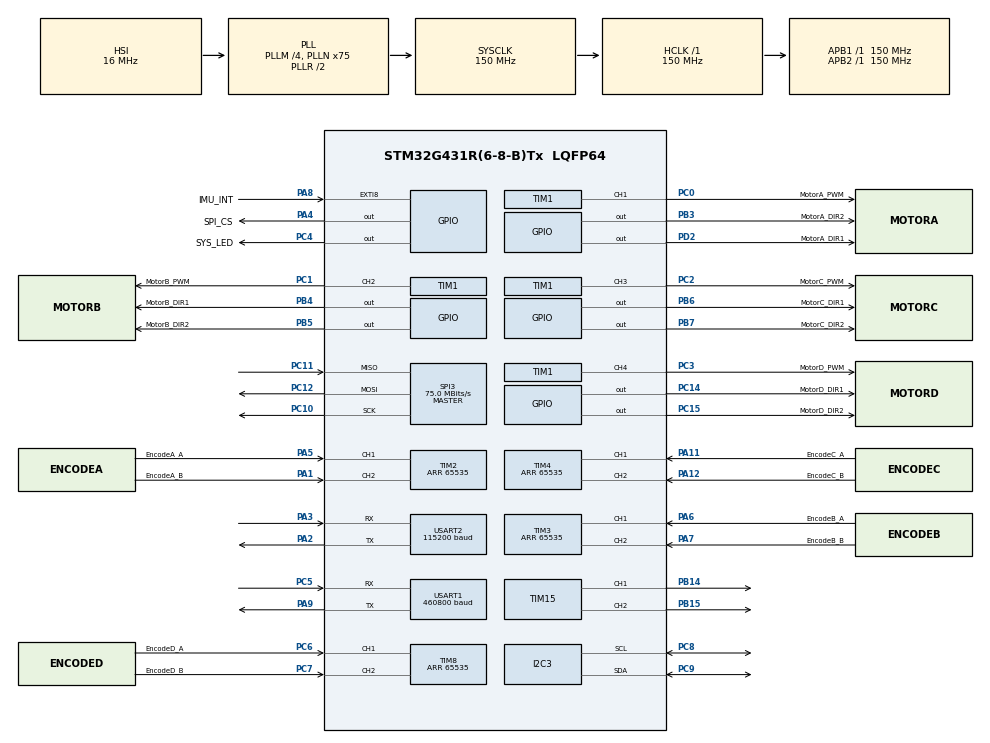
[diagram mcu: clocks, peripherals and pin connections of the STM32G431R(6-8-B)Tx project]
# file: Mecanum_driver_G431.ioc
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Dma.Request0=USART2_RX
Dma.Request1=USART2_TX
Dma.USART2_RX.0.Direction=DMA_PERIPH_TO_MEMORY
Dma.USART2_RX.0.EventEnable=DISABLE
Dma.USART2_RX.0.Instance=DMA1_Channel2
Dma.USART2_RX.0.MemDataAlignment=DMA_MDATAALIGN_BYTE
Dma.USART2_RX.0.MemInc=DMA_MINC_ENABLE
Dma.USART2_RX.0.Mode=DMA_NORMAL
Dma.USART2_RX.0.PeriphDataAlignment=DMA_PDATAALIGN_BYTE
Dma.USART2_RX.0.PeriphInc=DMA_PINC_DISABLE
Dma.USART2_RX.0.Polarity=HAL_DMAMUX_REQ_GEN_RISING
Dma.USART2_RX.0.Priority=DMA_PRIORITY_HIGH
Dma.USART2_RX.0.RequestNumber=1
Dma.USART2_RX.0.SignalID=NONE
Dma.USART2_RX.0.SyncEnable=DISABLE
Dma.USART2_RX.0.SyncPolarity=HAL_DMAMUX_SYNC_NO_EVENT
Dma.USART2_RX.0.SyncRequestNumber=1
Dma.USART2_RX.0.SyncSignalID=NONE
Dma.USART2_TX.1.Direction=DMA_MEMORY_TO_PERIPH
Dma.USART2_TX.1.EventEnable=DISABLE
Dma.USART2_TX.1.Instance=DMA1_Channel1
Dma.USART2_TX.1.MemDataAlignment=DMA_MDATAALIGN_BYTE
Dma.USART2_TX.1.MemInc=DMA_MINC_ENABLE
Dma.USART2_TX.1.Mode=DMA_NORMAL
Dma.USART2_TX.1.PeriphDataAlignment=DMA_PDATAALIGN_BYTE
Dma.USART2_TX.1.PeriphInc=DMA_PINC_DISABLE
Dma.USART2_TX.1.Polarity=HAL_DMAMUX_REQ_GEN_RISING
Dma.USART2_TX.1.Priority=DMA_PRIORITY_HIGH
Dma.USART2_TX.1.RequestNumber=1
Dma.USART2_TX.1.SignalID=NONE
Dma.USART2_TX.1.SyncEnable=DISABLE
Dma.USART2_TX.1.SyncPolarity=HAL_DMAMUX_SYNC_NO_EVENT
Dma.USART2_TX.1.SyncRequestNumber=1
Dma.USART2_TX.1.SyncSignalID=NONE
FREERTOS.Tasks01=defaultTask,24,128,StartDefaultTask,Default,NULL,Dynamic,NULL,NULL
FREERTOS.configUSE_NEWLIB_REENTRANT=1
I2C3.Timing=0x20C0EDFF
Mcu.Family=STM32G4
Mcu.Name=STM32G431R(6-8-B)Tx
Mcu.Package=LQFP64
NVIC.DMA1_Channel1_IRQn=true\:0\:0\:false\:false\:true\:false\:false\:true\:true
NVIC.DMA1_Channel2_IRQn=true\:0\:0\:false\:false\:true\:false\:false\:true\:true
NVIC.PriorityGroup=NVIC_PRIORITYGROUP_4
NVIC.TIM7_IRQn=true\:15\:0\:false\:false\:true\:false\:false\:true\:true
NVIC.TimeBase=TIM7_IRQn
NVIC.TimeBaseIP=TIM7
NVIC.USART2_IRQn=true\:5\:0\:false\:false\:true\:true\:true\:true\:true
PA1.GPIO_Label=EncodeA_B
PA1.Signal=S_TIM2_CH2
PA11.GPIO_Label=EncodeC_A
PA11.Signal=S_TIM4_CH1
PA12.GPIO_Label=EncodeC_B
PA12.Signal=S_TIM4_CH2
PA13.Mode=Serial_Wire
PA13.Signal=SYS_JTMS-SWDIO
PA14.Mode=Serial_Wire
PA14.Signal=SYS_JTCK-SWCLK
PA2.GPIO_PuPd=GPIO_NOPULL
PA2.GPIO_Speed=GPIO_SPEED_FREQ_LOW
PA2.Mode=Asynchronous
PA2.Signal=USART2_TX
PA3.GPIO_PuPd=GPIO_NOPULL
PA3.Mode=Asynchronous
PA3.Signal=USART2_RX
PA4.GPIO_Label=SPI_CS
PA4.Signal=GPIO_Output
PA5.GPIO_Label=EncodeA_A
PA5.Signal=S_TIM2_CH1
PA6.GPIO_Label=EncodeB_A
PA6.Signal=S_TIM3_CH1
PA7.GPIO_Label=EncodeB_B
PA7.Signal=S_TIM3_CH2
PA8.GPIO_Label=IMU_INT
PA8.Signal=GPXTI8
PA9.Mode=Asynchronous
PA9.Signal=USART1_TX
PB14.Signal=S_TIM15_CH1
PB15.Signal=S_TIM15_CH2
PB3.GPIO_Label=MotorA_DIR2
PB3.Signal=GPIO_Output
PB4.GPIO_Label=MotorB_DIR1
PB4.Signal=GPIO_Output
PB5.GPIO_Label=MotorB_DIR2
PB5.Signal=GPIO_Output
PB6.GPIO_Label=MotorC_DIR1
PB6.Signal=GPIO_Output
PB7.GPIO_Label=MotorC_DIR2
PB7.Signal=GPIO_Output
PC0.GPIO_Label=MotorA_PWM
PC0.Signal=S_TIM1_CH1
PC1.GPIO_Label=MotorB_PWM
PC1.Signal=S_TIM1_CH2
PC10.Mode=Full_Duplex_Master
PC10.Signal=SPI3_SCK
PC11.Mode=Full_Duplex_Master
PC11.Signal=SPI3_MISO
PC12.Mode=Full_Duplex_Master
PC12.Signal=SPI3_MOSI
PC14-OSC32_IN.GPIO_Label=MotorD_DIR1
PC14-OSC32_IN.Signal=GPIO_Output
PC15-OSC32_OUT.GPIO_Label=MotorD_DIR2
PC15-OSC32_OUT.Signal=GPIO_Output
PC2.GPIO_Label=MotorC_PWM
PC2.Signal=S_TIM1_CH3
PC3.GPIO_Label=MotorD_PWM
PC3.Signal=S_TIM1_CH4
PC4.GPIO_Label=SYS_LED
PC4.Signal=GPIO_Output
PC5.Mode=Asynchronous
PC5.Signal=USART1_RX
PC6.GPIO_Label=EncodeD_A
PC6.Signal=S_TIM8_CH1
PC7.GPIO_Label=EncodeD_B
PC7.Signal=S_TIM8_CH2
PC8.Mode=I2C
PC8.Signal=I2C3_SCL
PC9.Mode=I2C
PC9.Signal=I2C3_SDA
PD2.GPIO_Label=MotorA_DIR1
PD2.Signal=GPIO_Output
ProjectManager.HeapSize=0x200
ProjectManager.StackSize=0x400
ProjectManager.TargetToolchain=STM32CubeIDE
RCC.ADC12Freq_Value=150000000
RCC.AHBFreq_Value=150000000
RCC.APB1Freq_Value=150000000
RCC.APB1TimFreq_Value=150000000
RCC.APB2Freq_Value=150000000
RCC.APB2TimFreq_Value=150000000
RCC.CortexFreq_Value=150000000
RCC.EXTERNAL_CLOCK_VALUE=12288000
RCC.HCLKFreq_Value=150000000
RCC.HSE_VALUE=8000000
RCC.HSI48_VALUE=48000000
RCC.HSI_VALUE=16000000
RCC.LSE_VALUE=32768
RCC.PLLM=RCC_PLLM_DIV4
RCC.PLLN=75
RCC.SYSCLKFreq_VALUE=150000000
RCC.SYSCLKSource=RCC_SYSCLKSOURCE_PLLCLK
RCC.USBFreq_Value=150000000
RCC.VCOOutputFreq_Value=300000000
SH.S_TIM15_CH1.0=TIM15_CH1,PWM Generation1 CH1
SH.S_TIM15_CH2.0=TIM15_CH2,PWM Generation2 CH2
SH.S_TIM1_CH1.0=TIM1_CH1,PWM Generation1 CH1
SH.S_TIM1_CH2.0=TIM1_CH2,PWM Generation2 CH2
SH.S_TIM1_CH3.0=TIM1_CH3,PWM Generation3 CH3
SH.S_TIM1_CH4.0=TIM1_CH4,PWM Generation4 CH4
SH.S_TIM2_CH1.0=TIM2_CH1,Encoder_Interface
SH.S_TIM2_CH2.0=TIM2_CH2,Encoder_Interface
SH.S_TIM3_CH1.0=TIM3_CH1,Encoder_Interface
SH.S_TIM3_CH2.0=TIM3_CH2,Encoder_Interface
SH.S_TIM4_CH1.0=TIM4_CH1,Encoder_Interface
SH.S_TIM4_CH2.0=TIM4_CH2,Encoder_Interface
SH.S_TIM8_CH1.0=TIM8_CH1,Encoder_Interface
SH.S_TIM8_CH2.0=TIM8_CH2,Encoder_Interface
SPI3.CalculateBaudRate=75.0 MBits/s
SPI3.Direction=SPI_DIRECTION_2LINES
SPI3.Mode=SPI_MODE_MASTER
SPI3.VirtualType=VM_MASTER
TIM1.Channel-PWM\ Generation1\ CH1=TIM_CHANNEL_1
TIM1.Channel-PWM\ Generation2\ CH2=TIM_CHANNEL_2
TIM1.Channel-PWM\ Generation3\ CH3=TIM_CHANNEL_3
TIM1.Channel-PWM\ Generation4\ CH4=TIM_CHANNEL_4
TIM1.PeriodNoDither=1000
TIM1.Prescaler=149
TIM1.PulseNoDither_1=500
TIM1.PulseNoDither_2=500
TIM1.PulseNoDither_3=500
TIM1.PulseNoDither_4=500
TIM15.Channel-PWM\ Generation1\ CH1=TIM_CHANNEL_1
TIM15.Channel-PWM\ Generation2\ CH2=TIM_CHANNEL_2
TIM2.EncoderMode=TIM_ENCODERMODE_TI12
TIM2.PeriodNoDither=65535
TIM3.PeriodNoDither=65535
TIM4.PeriodNoDither=65535
TIM8.PeriodNoDither=65535
USART1.BaudRate=460800
USART1.VirtualMode-Asynchronous=VM_ASYNC
USART2.BaudRate=115200
USART2.VirtualMode-Asynchronous=VM_ASYNC
VP_FREERTOS_VS_CMSIS_V2.Mode=CMSIS_V2
VP_SYS_VS_DBSignals.Mode=DisableDeadBatterySignals
VP_SYS_VS_tim7.Mode=TIM7
board=custom

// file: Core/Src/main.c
/* USER CODE BEGIN Header */
/**
  ******************************************************************************
  * @file           : main.c
  * @brief          : Main program body
  ******************************************************************************
  * @attention
  *
  * Copyright (c) 2024 STMicroelectronics.
  * All rights reserved.
  *
  * This software is licensed under terms that can be found in the LICENSE file
  * in the root directory of this software component.
  * If no LICENSE file comes with this software, it is provided AS-IS.
  *
  ******************************************************************************
  */
/* USER CODE END Header */
#include "main.h"
#include "cmsis_os.h"
#include "dma.h"
#include "i2c.h"
#include "spi.h"
#include "tim.h"
#include "usart.h"
#include "gpio.h"

/* USER CODE BEGIN Includes */
#include "chassis/motor.h"
#include "rosserial/rosserial.h"
/* USER CODE END Includes */

void SystemClock_Config(void);
void MX_FREERTOS_Init(void);

int main(void)
{

  /* MCU Configuration--------------------------------------------------------*/

  /* Reset of all peripherals, Initializes the Flash interface and the Systick. */
  HAL_Init();

  /* Configure the system clock */
  SystemClock_Config();

  /* Initialize all configured peripherals */
  MX_GPIO_Init();
  MX_DMA_Init();
  MX_TIM1_Init();
  MX_USART1_UART_Init();
  MX_I2C3_Init();
  MX_SPI3_Init();
  MX_TIM2_Init();
  MX_TIM3_Init();
  MX_TIM4_Init();
  MX_TIM8_Init();
  MX_USART2_UART_Init();
  MX_TIM15_Init();
  /* USER CODE BEGIN 2 */
  motors_hw_init();
  /* USER CODE END 2 */

  /* Init scheduler */
  osKernelInitialize();

  /* Call init function for freertos objects (in cmsis_os2.c) */
  MX_FREERTOS_Init();

  /* Start scheduler */
  osKernelStart();

  /* We should never get here as control is now taken by the scheduler */

  /* Infinite loop */
  while (1)
  {

  }
}

void SystemClock_Config(void)
{
  RCC_OscInitTypeDef RCC_OscInitStruct = {0};
  RCC_ClkInitTypeDef RCC_ClkInitStruct = {0};

  /** Configure the main internal regulator output voltage
  */
  HAL_PWREx_ControlVoltageScaling(PWR_REGULATOR_VOLTAGE_SCALE1);

  /** Initializes the RCC Oscillators according to the specified parameters
  * in the RCC_OscInitTypeDef structure.
  */
  RCC_OscInitStruct.OscillatorType = RCC_OSCILLATORTYPE_HSI;
  RCC_OscInitStruct.HSIState = RCC_HSI_ON;
  RCC_OscInitStruct.HSICalibrationValue = RCC_HSICALIBRATION_DEFAULT;
  RCC_OscInitStruct.PLL.PLLState = RCC_PLL_ON;
  RCC_OscInitStruct.PLL.PLLSource = RCC_PLLSOURCE_HSI;
  RCC_OscInitStruct.PLL.PLLM = RCC_PLLM_DIV4;
  RCC_OscInitStruct.PLL.PLLN = 75;
  RCC_OscInitStruct.PLL.PLLP = RCC_PLLP_DIV2;
  RCC_OscInitStruct.PLL.PLLQ = RCC_PLLQ_DIV2;
  RCC_OscInitStruct.PLL.PLLR = RCC_PLLR_DIV2;
  if (HAL_RCC_OscConfig(&RCC_OscInitStruct) != HAL_OK)
  {
    Error_Handler();
  }

  /** Initializes the CPU, AHB and APB buses clocks
  */
  RCC_ClkInitStruct.ClockType = RCC_CLOCKTYPE_HCLK|RCC_CLOCKTYPE_SYSCLK
                              |RCC_CLOCKTYPE_PCLK1|RCC_CLOCKTYPE_PCLK2;
  RCC_ClkInitStruct.SYSCLKSource = RCC_SYSCLKSOURCE_PLLCLK;
  RCC_ClkInitStruct.AHBCLKDivider = RCC_SYSCLK_DIV1;
  RCC_ClkInitStruct.APB1CLKDivider = RCC_HCLK_DIV1;
  RCC_ClkInitStruct.APB2CLKDivider = RCC_HCLK_DIV1;

  if (HAL_RCC_ClockConfig(&RCC_ClkInitStruct, FLASH_LATENCY_4) != HAL_OK)
  {
    Error_Handler();
  }
}

void HAL_TIM_PeriodElapsedCallback(TIM_HandleTypeDef *htim)
{
  if (htim->Instance == TIM7) {
    HAL_IncTick();
  }
}

void Error_Handler(void)
{
  __disable_irq();
  while (1)
  {
  }
}

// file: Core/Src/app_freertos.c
/* USER CODE BEGIN Header */
/**
  ******************************************************************************
  * File Name          : app_freertos.c
  * Description        : Code for freertos applications
  ******************************************************************************
  * @attention
  *
  * Copyright (c) 2024 STMicroelectronics.
  * All rights reserved.
  *
  * This software is licensed under terms that can be found in the LICENSE file
  * in the root directory of this software component.
  * If no LICENSE file comes with this software, it is provided AS-IS.
  *
  ******************************************************************************
  */
/* USER CODE END Header */

#include "FreeRTOS.h"
#include "task.h"
#include "main.h"
#include "cmsis_os.h"

/* USER CODE BEGIN Includes */
#include "chassis/motor.h"
#include "rosserial/rosserial.h"
/* USER CODE END Includes */

/* USER CODE BEGIN Variables */
osThreadId_t motorTaskHandle;
const osThreadAttr_t motorTask_attributes = {
  .name = "motorTask",
  .priority = (osPriority_t) osPriorityNormal,
  .stack_size = 256 * 4
};

/* USER CODE END Variables */
/* Definitions for defaultTask */
osThreadId_t defaultTaskHandle;
const osThreadAttr_t defaultTask_attributes = {
  .name = "defaultTask",
  .priority = (osPriority_t) osPriorityNormal,
  .stack_size = 128 * 4
};

/* USER CODE BEGIN FunctionPrototypes */
void motorTask(void *argument);
/* USER CODE END FunctionPrototypes */

void StartDefaultTask(void *argument);

void MX_FREERTOS_Init(void); /* (MISRA C 2004 rule 8.1) */

void MX_FREERTOS_Init(void) {

  /* Create the thread(s) */
  /* creation of defaultTask */
  defaultTaskHandle = osThreadNew(StartDefaultTask, NULL, &defaultTask_attributes);

  /* USER CODE BEGIN RTOS_THREADS */
  /* add threads, ... */
  motorTaskHandle = osThreadNew(motorTask, NULL, &motorTask_attributes);
  /* USER CODE END RTOS_THREADS */

}

void StartDefaultTask(void *argument)
{
  for(;;)
  {
    osDelay(1);
  }
}

/* USER CODE BEGIN Application */
void motorTask(void *argument)
{
  /* USER CODE BEGIN StartDefaultTask */
	int i = 0;
	motor_ctl_t act = {MT_FORWARD, 10};
  motor_state_t* state = NULL;
  setup();
//  motor_run(MotorA, act);
//  motor_run(MotorB, act);
//  motor_run(MotorC, act);
//  motor_run(MotorD, act);
  /* Infinite loop */
  for(;;)
  {
    loop();
//	  state = motor_refresh_state(MotorA);
//    printf("ang_vel = %f, line_vel = %f\r\n", state->ang_vel, state->line_vel);
	  HAL_GPIO_TogglePin(SYS_LED_GPIO_Port, SYS_LED_Pin);
	  osDelay(100);

  }
  /* USER CODE END StartDefaultTask */
}
/* USER CODE END Application */
